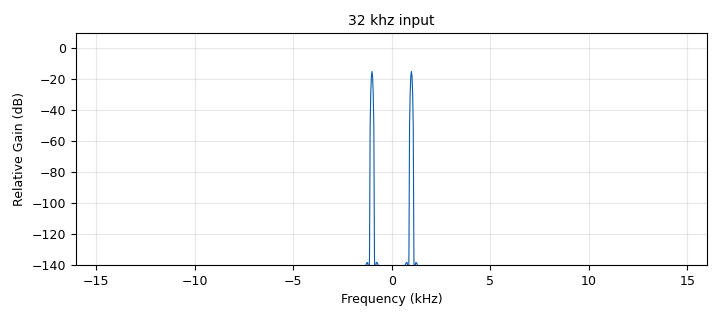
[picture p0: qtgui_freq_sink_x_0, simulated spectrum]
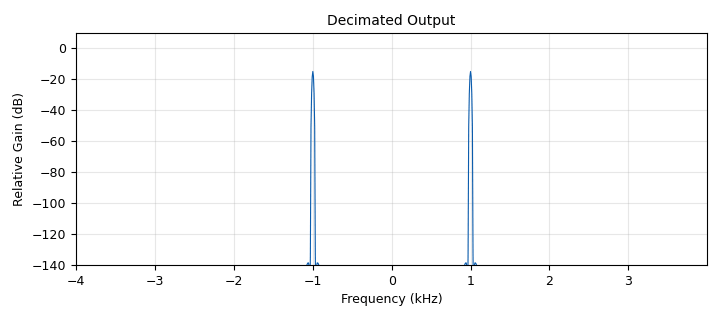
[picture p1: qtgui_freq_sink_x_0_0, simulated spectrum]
options:
  parameters:
    author: pi
    generate_options: qt_gui
    id: decimation_ch8
    output_language: python
    title: decimation ch8
  states: {}

blocks:
- name: samp_rate
  id: variable
  parameters:
    value: '32000'
  states: {}
- name: analog_sig_source_x_0
  id: analog_sig_source_x
  parameters:
    amp: '1'
    freq: '1000'
    offset: '0'
    phase: '0'
    samp_rate: samp_rate
    type: float
    waveform: analog.GR_COS_WAVE
  states: {}
- name: blocks_throttle_0
  id: blocks_throttle
  parameters:
    samples_per_second: samp_rate
    type: float
  states: {}
- name: qtgui_freq_sink_x_0
  id: qtgui_freq_sink_x
  parameters:
    bw: samp_rate
    ctrlpanel: 'True'
    fc: '0'
    fftsize: '1024'
    name: 32 khz input
    type: float
    update_time: '0.1'
    wintype: firdes.WIN_BLACKMAN_hARRIS
  states: {}
- name: qtgui_freq_sink_x_0_0
  id: qtgui_freq_sink_x
  parameters:
    bw: samp_rate/4
    fc: '0'
    fftsize: '1024'
    name: Decimated Output
    type: float
    wintype: firdes.WIN_BLACKMAN_hARRIS
  states: {}
- name: rational_resampler_xxx_0
  id: rational_resampler_xxx
  parameters:
    decim: '4'
    interp: '1'
    taps: ''
    type: fff
  states: {}

connections:
- [analog_sig_source_x_0, '0', blocks_throttle_0, '0']
- [blocks_throttle_0, '0', qtgui_freq_sink_x_0, '0']
- [blocks_throttle_0, '0', rational_resampler_xxx_0, '0']
- [rational_resampler_xxx_0, '0', qtgui_freq_sink_x_0_0, '0']

metadata:
  file_format: 1
